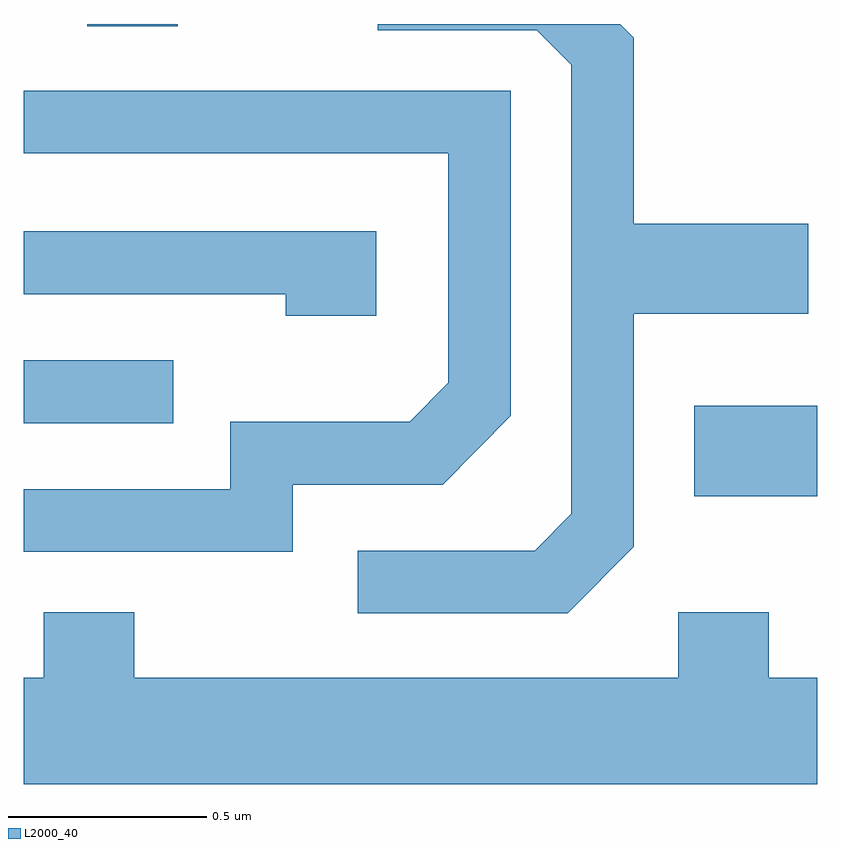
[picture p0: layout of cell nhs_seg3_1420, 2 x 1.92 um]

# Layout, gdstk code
import gdstk
lib = gdstk.Library(unit=1e-6, precision=1e-09)
def R(c, l, rs):  # rectangles x0, y0, x1, y1
    for r in rs: c.add(gdstk.rectangle(r[:2], r[2:], *l))
def P(c, l, *ps):  # polygons
    for p in ps: c.add(gdstk.Polygon(p, *l))
L2000_40 = (2000, 40)

nhs_seg3_1420 = lib.new_cell('nhs_seg3_1420')
R(nhs_seg3_1420, L2000_40, [(197.301,1166.701,197.611,1166.929), (195.611,1166.886,195.988,1167.044), (195.771,1167.886,195.999,1167.892)])
P(nhs_seg3_1420, L2000_40, [(197.149,1166.574),(197.149,1167.161),(197.589,1167.161),(197.589,1167.389),(197.149,1167.389),(197.149,1167.857),(197.114,1167.892),(196.503,1167.892),(196.503,1167.876),(196.904,1167.876),(196.991,1167.789),(196.991,1166.657),(196.899,1166.564),(196.453,1166.564),(196.453,1166.406),(196.982,1166.406)],
  [(196.289,1166.731),(196.667,1166.731),(196.839,1166.904),(196.839,1167.724),(195.611,1167.724),(195.611,1167.566),(196.681,1167.566),(196.681,1166.987),(196.584,1166.889),(196.131,1166.889),(196.131,1166.719),(195.611,1166.719),(195.611,1166.561),(196.289,1166.561)],
  [(196.499,1167.369),(195.611,1167.369),(195.611,1167.211),(196.271,1167.211),(196.271,1167.156),(196.499,1167.156)],
  [(197.611,1166.244),(197.489,1166.244),(197.489,1166.409),(197.261,1166.409),(197.261,1166.244),(195.889,1166.244),(195.889,1166.409),(195.661,1166.409),(195.661,1166.244),(195.611,1166.244),(195.611,1165.976),(197.611,1165.976)])

lib.write_gds('nhs_seg3_1420.gds')
